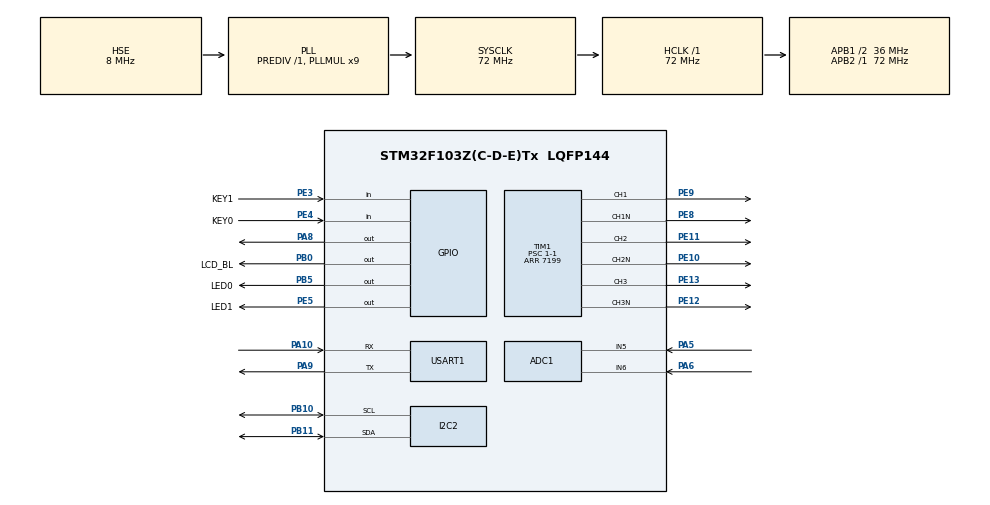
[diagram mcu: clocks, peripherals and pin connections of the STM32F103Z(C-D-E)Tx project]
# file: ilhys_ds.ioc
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ADC1.Channel-2\#ChannelRegularConversion=ADC_CHANNEL_5
ADC1.Channel-3\#ChannelRegularConversion=ADC_CHANNEL_6
ADC1.EnableInjectedConversion=DISABLE
ADC1.EnableRegularConversion=ENABLE
ADC1.ExternalTrigConv=ADC_EXTERNALTRIGCONV_T3_TRGO
ADC1.InjNumberOfConversion=2
ADC1.NbrOfConversion=2
ADC1.NbrOfConversionFlag=1
ADC1.Rank-2\#ChannelRegularConversion=1
ADC1.Rank-3\#ChannelRegularConversion=2
ADC1.SamplingTime-2\#ChannelRegularConversion=ADC_SAMPLETIME_1CYCLE_5
ADC1.SamplingTime-3\#ChannelRegularConversion=ADC_SAMPLETIME_1CYCLE_5
ADC1.master=1
Dma.ADC1.0.Direction=DMA_PERIPH_TO_MEMORY
Dma.ADC1.0.Instance=DMA1_Channel1
Dma.ADC1.0.MemDataAlignment=DMA_MDATAALIGN_WORD
Dma.ADC1.0.MemInc=DMA_MINC_ENABLE
Dma.ADC1.0.Mode=DMA_CIRCULAR
Dma.ADC1.0.PeriphDataAlignment=DMA_PDATAALIGN_WORD
Dma.ADC1.0.PeriphInc=DMA_PINC_DISABLE
Dma.ADC1.0.Priority=DMA_PRIORITY_LOW
Dma.Request0=ADC1
I2C2.I2C_Mode=I2C_Fast
Mcu.Family=STM32F1
Mcu.Name=STM32F103Z(C-D-E)Tx
Mcu.Package=LQFP144
<<<<<<< HEAD
=======
>>>>>>> f5686034f7986d4639abc5c12b0dcebb868d16f5
NVIC.DMA1_Channel1_IRQn=true\:1\:0\:true\:false\:true\:false\:true\:true
NVIC.PriorityGroup=NVIC_PRIORITYGROUP_4
NVIC.TIM1_UP_IRQn=true\:0\:0\:false\:false\:true\:true\:true\:true
NVIC.TIM3_IRQn=true\:2\:0\:true\:false\:true\:true\:true\:true
OSC_IN.Mode=HSE-External-Oscillator
OSC_IN.Signal=RCC_OSC_IN
OSC_OUT.Mode=HSE-External-Oscillator
OSC_OUT.Signal=RCC_OSC_OUT
PA10.Mode=Asynchronous
PA10.Signal=USART1_RX
PA13.Mode=Serial_Wire
PA13.Signal=SYS_JTMS-SWDIO
PA14.Mode=Serial_Wire
PA14.Signal=SYS_JTCK-SWCLK
PA5.Signal=ADCx_IN5
PA6.Signal=ADCx_IN6
PA8.Signal=GPIO_Output
PA9.Mode=Asynchronous
PA9.Signal=USART1_TX
PB0.GPIO_Label=LCD_BL
PB0.PinState=GPIO_PIN_SET
PB0.Signal=GPIO_Output
PB10.Mode=I2C
PB10.Signal=I2C2_SCL
PB11.Mode=I2C
PB11.Signal=I2C2_SDA
PB5.GPIO_Label=LED0
PB5.Signal=GPIO_Output
PC14-OSC32_IN.Mode=LSE-External-Oscillator
PC14-OSC32_IN.Signal=RCC_OSC32_IN
PC15-OSC32_OUT.Mode=LSE-External-Oscillator
PC15-OSC32_OUT.Signal=RCC_OSC32_OUT
PE10.Mode=PWM Generation2 CH2 CH2N
PE10.Signal=TIM1_CH2N
PE11.Signal=S_TIM1_CH2
PE12.Mode=PWM Generation3 CH3 CH3N
PE12.Signal=TIM1_CH3N
PE13.Signal=S_TIM1_CH3
PE3.GPIO_Label=KEY1
PE3.Signal=GPIO_Input
PE4.GPIO_Label=KEY0
PE4.GPIO_PuPd=GPIO_PULLUP
PE4.Signal=GPIO_Input
PE5.GPIO_Label=LED1
PE5.Signal=GPIO_Output
PE8.Mode=PWM Generation1 CH1 CH1N
PE8.Signal=TIM1_CH1N
PE9.Signal=S_TIM1_CH1
ProjectManager.HeapSize=0x200
ProjectManager.StackSize=0x400
ProjectManager.TargetToolchain=MDK-ARM V5
RCC.ADCPresc=RCC_ADCPCLK2_DIV6
RCC.AHBFreq_Value=72000000
RCC.APB1CLKDivider=RCC_HCLK_DIV2
RCC.APB1Freq_Value=36000000
RCC.APB1TimFreq_Value=72000000
RCC.APB2Freq_Value=72000000
RCC.APB2TimFreq_Value=72000000
RCC.HCLKFreq_Value=72000000
RCC.PLLMUL=RCC_PLL_MUL9
RCC.PLLSourceVirtual=RCC_PLLSOURCE_HSE
RCC.SYSCLKFreq_VALUE=72000000
RCC.SYSCLKSource=RCC_SYSCLKSOURCE_PLLCLK
RCC.USBFreq_Value=72000000
SH.ADCx_IN5.0=ADC1_IN5,IN5
SH.ADCx_IN6.0=ADC1_IN6,IN6
SH.S_TIM1_CH1.0=TIM1_CH1,PWM Generation1 CH1 CH1N
SH.S_TIM1_CH2.0=TIM1_CH2,PWM Generation2 CH2 CH2N
SH.S_TIM1_CH3.0=TIM1_CH3,PWM Generation3 CH3 CH3N
STMicroelectronics.X-CUBE-ALGOBUILD.1.3.0.LibraryCcDSPOoLibraryJjDSPOoLibrary=true
TIM1.AutoReloadPreload=TIM_AUTORELOAD_PRELOAD_ENABLE
TIM1.Channel-PWM\ Generation1\ CH1\ CH1N=TIM_CHANNEL_1
TIM1.Channel-PWM\ Generation2\ CH2\ CH2N=TIM_CHANNEL_2
TIM1.Channel-PWM\ Generation3\ CH3\ CH3N=TIM_CHANNEL_3
TIM1.DeadTime=120
TIM1.Period=7199
TIM1.Prescaler=1-1
TIM1.Pulse-PWM\ Generation1\ CH1\ CH1N=1200
TIM1.Pulse-PWM\ Generation2\ CH2\ CH2N=0
TIM1.Pulse-PWM\ Generation3\ CH3\ CH3N=0
TIM1.TIM_MasterOutputTrigger=TIM_TRGO_UPDATE
TIM3.AutoReloadPreload=TIM_AUTORELOAD_PRELOAD_ENABLE
TIM3.Period=7200
TIM3.Prescaler=1-1
TIM3.TIM_MasterOutputTrigger=TIM_TRGO_UPDATE
USART1.VirtualMode=VM_ASYNC
VP_STMicroelectronics.X-CUBE-ALGOBUILD_VS_DSPOoLibraryJjLibrary_1.3.0_1.3.0.Mode=DSPOoLibraryJjLibrary
VP_TIM1_VS_ClockSourceINT.Mode=Internal
VP_TIM3_VS_ClockSourceINT.Mode=Internal
board=custom

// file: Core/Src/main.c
/* USER CODE BEGIN Header */
/**
  ******************************************************************************
  * @file           : main.c
  * @brief          : Main program body
  ******************************************************************************
  * @attention
  *
  * Copyright (c) 2023 STMicroelectronics.
  * All rights reserved.
  *
  * This software is licensed under terms that can be found in the LICENSE file
  * in the root directory of this software component.
  * If no LICENSE file comes with this software, it is provided AS-IS.
  *
  ******************************************************************************
  */
/* USER CODE END Header */
#include "main.h"
#include "adc.h"
#include "dma.h"
#include "i2c.h"
#include "tim.h"
#include "usart.h"
#include "gpio.h"

/* USER CODE BEGIN Includes */
//#include "./BSP/LCD/lcd.h"
#include "./BSP/pidw/pid.h"
#include "./BSP/OLED/OLED.h"
#include "stdio.h"
#include "arm_math.h"
#include "arm_const_structs.h"
/* USER CODE END Includes */

/* USER CODE BEGIN PV */
uint32_t size=200;
float ceshi=0;
float va,vb,va1;
uint32_t ad1,ad2,i;
int count=0;
__IO uint8_t AdcConvEnd = 0;
uint32_t ADC_count=0,eff_measure=0;
uint32_t ADC_Value[ADC_SIZE];

float adc_buff[FFT_LENGTH];
float fft_inputbuf[FFT_LENGTH * 2];
float fft_outputbuf[FFT_LENGTH];
float effect[FFT_LENGTH];
float UI[FFT_LENGTH];

float Voltage_REF=0.514;
double effective_value;
double effective_value_all;
double uk=0.7;
CNTL_PI_F U_pi;              //U_pi

/* USER CODE END PV */

void SystemClock_Config(void);

/* USER CODE BEGIN 0 */
void delay_ms(uint16_t t)
{
	while(t--);
}
void key_scan()
{
	if(HAL_GPIO_ReadPin(GPIOE,GPIO_PIN_3) == GPIO_PIN_RESET)
	{
		delay_ms(1000);
		if(HAL_GPIO_ReadPin(GPIOE,GPIO_PIN_3) == GPIO_PIN_RESET)    //KEY1_Pin
		{
			HAL_GPIO_TogglePin(LED0_GPIO_Port,LED0_Pin);              //PB5 0
//            Voltage_REF-=0.01;
			while(HAL_GPIO_ReadPin(GPIOE,GPIO_PIN_3) == GPIO_PIN_RESET );
		}
	}
	if(HAL_GPIO_ReadPin(GPIOE,GPIO_PIN_4) == GPIO_PIN_RESET)       //KEY0_Pin
	{
		delay_ms(1000);
		if(HAL_GPIO_ReadPin(GPIOE,GPIO_PIN_4) == GPIO_PIN_RESET)
		{
			Voltage_REF+=0.001;
			uk+=0.003;
			HAL_GPIO_TogglePin(LED1_GPIO_Port,LED1_Pin);               //PE5  0
			while(HAL_GPIO_ReadPin(GPIOE,GPIO_PIN_4) == GPIO_PIN_RESET );
		}
	}
}
uint16_t sin1[200] = {3599,3709,3820,3931,4041,4150,4260,4368,4476,4583,4689,4794,4897,5000,5101,5200,
5298,5394,5489,5582,5672,5761,5847,5932,6014,6093,6170,6245,6317,6386,6453,6516,
6577,6635,6690,6742,6791,6836,6879,6918,6954,6986,7016,7042,7064,7083,7099,7111,
7120,7125,7127,7125,7120,7111,7099,7083,7064,7042,7016,6986,6954,6918,6879,6836,
6791,6742,6690,6635,6577,6516,6453,6386,6317,6245,6170,6093,6014,5932,5847,5761,
5672,5582,5489,5394,5298,5200,5101,5000,4897,4794,4689,4583,4476,4368,4260,4150,
4041,3931,3820,3709,3599,3488,3377,3266,3156,3047,2937,2829,2721,2614,2508,2403,
2300,2197,2096,1997,1899,1803,1708,1615,1525,1436,1350,1265,1183,1104,1027,952,
880,811,744,681,620,562,507,455,406,361,318,279,243,211,181,155,
133,114,98,86,77,72,71,72,77,86,98,114,133,155,181,211,
243,279,318,361,406,455,507,562,620,681,744,811,880,952,1027,1104,
1183,1265,1350,1436,1525,1615,1708,1803,1899,1997,2096,2197,2300,2403,2508,2614,
2721,2829,2937,3047,3156,3266,3377,3488};
void HAL_TIM_PeriodElapsedCallback(TIM_HandleTypeDef *htim)
{
	static int k = 0;
	if(htim->Instance == TIM1)
	{
//    	if(U_pi.Out>0&&U_pi.Out<1)
//		{
			TIM1->CCR1=3600+(sin1[k]-3600)*U_pi.Out*0.98;
//		}
//		TIM1->CCR1=3600+(sin1[k]-3600)*uk*0.98;
//		TIM1->CCR1=sin1[k];
		k++;
		if(k == size)k = 0;
	}
	else if(htim->Instance == TIM3)
	{
//		adc_buff[ADC_count]=ADC_Value[0]*3.3/4096+0.00;
//		printf("%d",ADC_Value[0]);
//		printf("%.3f\n",adc_buff[ADC_count]);
//		ADC_count++;
//		if(ADC_count>1023) ADC_count=0;
//		printf("%.3f\n",adc_buff[ADC_count]);
//		for (uint16_t i = 0; i < FFT_LENGTH; i++)
//		{
//		    printf("%.3f\n", adc_buff[i]);
//		}

	}
}

/* USER CODE END 0 */

int main(void)
{

  /* MCU Configuration--------------------------------------------------------*/

  /* Reset of all peripherals, Initializes the Flash interface and the Systick. */
  HAL_Init();

  /* Configure the system clock */
  SystemClock_Config();

  /* Initialize all configured peripherals */
  MX_GPIO_Init();
  MX_DMA_Init();
  MX_USART1_UART_Init();
  MX_TIM1_Init();
  MX_I2C2_Init();
  MX_ADC1_Init();
  MX_TIM3_Init();
  /* USER CODE BEGIN 2 */
  OLED_init();
  HAL_TIM_PWM_Start(&htim1,TIM_CHANNEL_1);
  HAL_TIMEx_PWMN_Start(&htim1, TIM_CHANNEL_1);
  HAL_TIM_PWM_Start(&htim1,TIM_CHANNEL_2);
  HAL_TIMEx_PWMN_Start(&htim1, TIM_CHANNEL_2);
  HAL_TIM_PWM_Start(&htim1,TIM_CHANNEL_3);
  HAL_TIMEx_PWMN_Start(&htim1, TIM_CHANNEL_3);
  HAL_TIM_Base_Start_IT(&htim1); //�??启定时器
  HAL_ADCEx_Calibration_Start(&hadc1);
  HAL_ADC_Start_DMA(&hadc1, (uint32_t*)&ADC_Value, ADC_SIZE);
  HAL_TIM_Base_Start_IT(&htim3); //�??启定时器
  ceshi=156.0212;
  CNTL_PI_F_init(&U_pi);//U_pi初始值化
  U_pi.Kp = 1;    U_pi.Ki = 0.5;

  /* USER CODE END 2 */

  /* Infinite loop */
  /* USER CODE BEGIN WHILE */
  while (1)
  {
    key_scan();
//	for (uint16_t i = 0; i < FFT_LENGTH; i++)
//	{
//     printf("%.3f\n", adc_buff[i]); //打印ADC_Value
//	}
//  printf("%.3f,%d\n",adc_buff[ADC_count],ADC_count);
//  OLED_operate_gram(PEN_CLEAR);
//  OLED_printf(0,0,"HUIHUI");
//  OLED_printf(1,0,"%.2f",ceshi);
//  OLED_refresh_gram();
	ceshi++;
	if(ceshi>=65536) ceshi=0;
//  HAL_Delay(100);

    /* USER CODE END WHILE */

  }
}

void SystemClock_Config(void)
{
  RCC_OscInitTypeDef RCC_OscInitStruct = {0};
  RCC_ClkInitTypeDef RCC_ClkInitStruct = {0};
  RCC_PeriphCLKInitTypeDef PeriphClkInit = {0};

  /** Initializes the RCC Oscillators according to the specified parameters
  * in the RCC_OscInitTypeDef structure.
  */
  RCC_OscInitStruct.OscillatorType = RCC_OSCILLATORTYPE_HSE;
  RCC_OscInitStruct.HSEState = RCC_HSE_ON;
  RCC_OscInitStruct.HSEPredivValue = RCC_HSE_PREDIV_DIV1;
  RCC_OscInitStruct.HSIState = RCC_HSI_ON;
  RCC_OscInitStruct.PLL.PLLState = RCC_PLL_ON;
  RCC_OscInitStruct.PLL.PLLSource = RCC_PLLSOURCE_HSE;
  RCC_OscInitStruct.PLL.PLLMUL = RCC_PLL_MUL9;
  if (HAL_RCC_OscConfig(&RCC_OscInitStruct) != HAL_OK)
  {
    Error_Handler();
  }

  /** Initializes the CPU, AHB and APB buses clocks
  */
  RCC_ClkInitStruct.ClockType = RCC_CLOCKTYPE_HCLK|RCC_CLOCKTYPE_SYSCLK
                              |RCC_CLOCKTYPE_PCLK1|RCC_CLOCKTYPE_PCLK2;
  RCC_ClkInitStruct.SYSCLKSource = RCC_SYSCLKSOURCE_PLLCLK;
  RCC_ClkInitStruct.AHBCLKDivider = RCC_SYSCLK_DIV1;
  RCC_ClkInitStruct.APB1CLKDivider = RCC_HCLK_DIV2;
  RCC_ClkInitStruct.APB2CLKDivider = RCC_HCLK_DIV1;

  if (HAL_RCC_ClockConfig(&RCC_ClkInitStruct, FLASH_LATENCY_2) != HAL_OK)
  {
    Error_Handler();
  }
  PeriphClkInit.PeriphClockSelection = RCC_PERIPHCLK_ADC;
  PeriphClkInit.AdcClockSelection = RCC_ADCPCLK2_DIV6;
  if (HAL_RCCEx_PeriphCLKConfig(&PeriphClkInit) != HAL_OK)
  {
    Error_Handler();
  }
}

void Error_Handler(void)
{
  __disable_irq();
  while (1)
  {
  }
}
